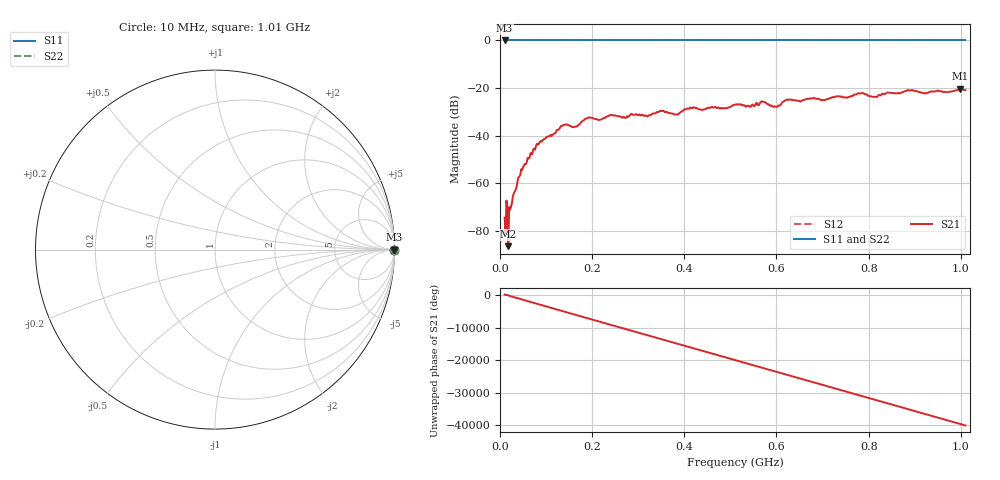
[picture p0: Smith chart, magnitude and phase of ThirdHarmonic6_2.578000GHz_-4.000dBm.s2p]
! 8/17/2025 5:26:19 AM
! C:\ANRITSUVNA\TEMP\TEMP.S2P
! CHANNEL.1
! TR.MEASUREMENT
! RAW.DATA
! RF.CORRECTION.OFF
! AVERAGING.OFF
! IF.BANDWIDTH: 5KHZ
! SWEEPTYPE:  FREQ.SWEEP(Linear)
! Reference Plane Port Info
! PORT:  PORT1  PORT2
! DISTANCE:  0  m  0  m
! TIME:  0  s  0  s
! PHASE.OFFSET:  0  deg.  0  deg.
! LOSS:  0  dB  0  dB
! REF.LOSS:  0  dB  0  dB
! REF.FREQ:  0  Hz  0  Hz
! Power Info
! POWER:  -20  dBm  -20  dBm
! EFF.POWER:  -20  dBm  -20  dBm
! SOURCE.ATTEN:  0  dB  0  dB
! TEST.ATTEN:  0  dB  0  dB
# GHZ S RI R 50.0
! FREQ.GHZ  S11RE  S11IM  S21RE  S21IM  S12RE  S12IM  S22RE  S22IM
!; PortSelection: Port_12
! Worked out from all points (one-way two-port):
!   501 points, 10 MHz to 1.01 GHz, reference 50 ohm
!   highest |S21| = -20.29 dB at 998 MHz (marker M1); lowest = -86.4 dB at 18 MHz (marker M2)
!   lowest |S11| = 0.0 dB at 10 MHz (marker M3)
!   |S11| at or under -10 dB: nowhere
!   |S22| runs from 0.0 to 0.0 dB; largest |S21 - S12| = 1.1
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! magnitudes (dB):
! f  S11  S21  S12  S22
! 10 MHz  0.0  -74.4  0.0  0.0
! 14 MHz  0.0  -67.2  0.0  0.0
! 18 MHz  0.0  -86.4  0.0  0.0
! 22 MHz  0.0  -71.1  0.0  0.0
! 32 MHz  0.0  -63.4  0.0  0.0
! 50 MHz  0.0  -53.3  0.0  0.0
! 82 MHz  0.0  -43.7  0.0  0.0
! 136 MHz  0.0  -35.7  0.0  0.0
! 162 MHz  0.0  -36.2  0.0  0.0
! 178 MHz  0.0  -34.0  0.0  0.0
! 344 MHz  0.0  -30.0  0.0  0.0
! 382 MHz  0.0  -31.1  0.0  0.0
! 416 MHz  0.0  -28.4  0.0  0.0
! 510 MHz  0.0  -26.9  0.0  0.0
! 570 MHz  0.0  -25.7  0.0  0.0
! 598 MHz  0.0  -27.8  0.0  0.0
! 622 MHz  0.0  -24.9  0.0  0.0
! 678 MHz  0.0  -24.2  0.0  0.0
! 814 MHz  0.0  -23.6  0.0  0.0
! 844 MHz  0.0  -21.9  0.0  0.0
! 998 MHz  0.0  -20.3  0.0  0.0
! 1.01 GHz  0.0  -20.8  0.0  0.0
